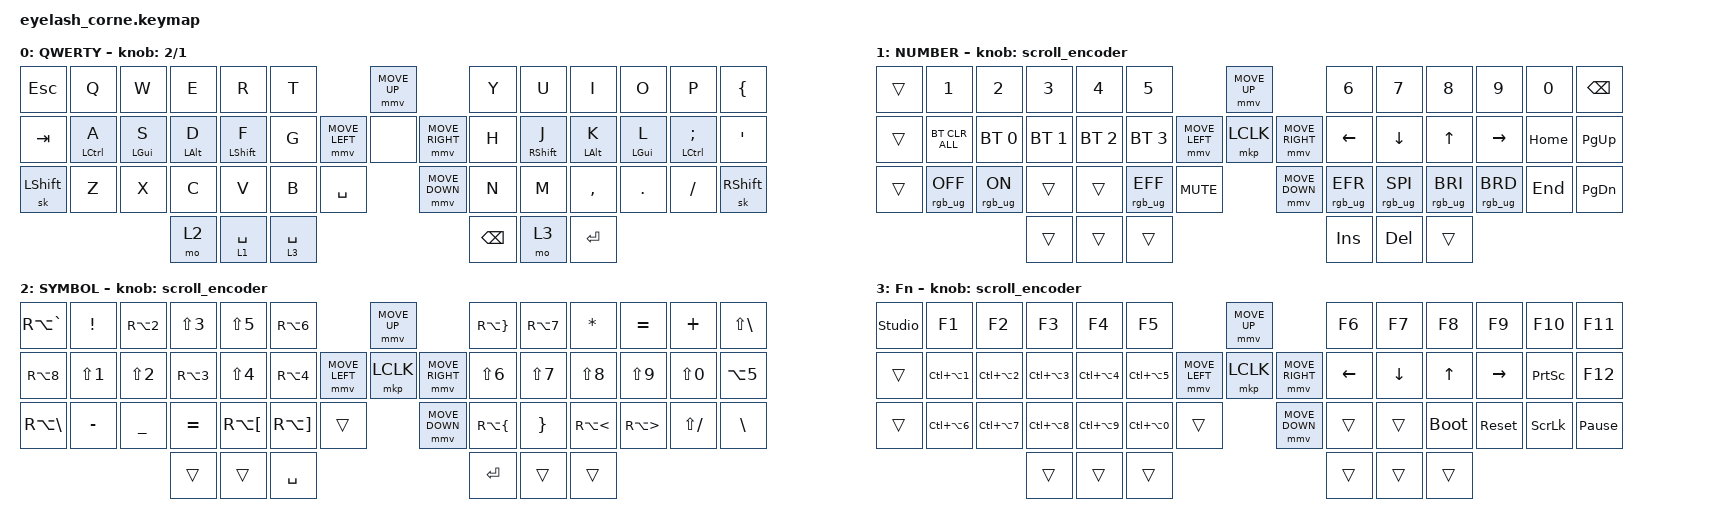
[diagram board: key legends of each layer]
#define ZMK_POINTING_DEFAULT_MOVE_VAL 1200  // 600
#define ZMK_POINTING_DEFAULT_SCRL_VAL 25   // 10

#include <input/processors.dtsi>
#include <zephyr/dt-bindings/input/input-event-codes.h>
#include <behaviors.dtsi>
#include <behaviors/num_word.dtsi> 

#include <dt-bindings/zmk/bt.h>
#include <dt-bindings/zmk/ext_power.h>
#include <dt-bindings/zmk/keys.h>
#include <dt-bindings/zmk/outputs.h>
#include <dt-bindings/zmk/pointing.h>
#include <dt-bindings/zmk/rgb.h>

// custom helpers
#include "zmk-helpers/helper.h"
#include "eyelash_corne/keymap.h"

#define KEYS_L LT0 LT1 LT2 LT3 LT4 LM0 LM1 LM2 LM3 LM4 LB0 LB1 LB2 LB3 LB4  // left hand
#define KEYS_R RT0 RT1 RT2 RT3 RT4 RM0 RM1 RM2 RM3 RM4 RB0 RB1 RB2 RB3 RB4  // right hand
#define THUMBS LH2 LH1 LH0 RH0 RH1 RH2   // thumbs

#define QUICK_TAP_MS 175

ZMK_HOLD_TAP(hml,
    flavor = "balanced";
    tapping-term-ms = <200>;
    require-prior-idle-ms = <QUICK_TAP_MS>;
    hold-trigger-key-positions = <KEYS_R THUMBS>;
    hold-trigger-on-release;
    bindings = <&kp>, <&kp>;
)

ZMK_HOLD_TAP(hmr,
    flavor = "balanced";
    tapping-term-ms = <200>;
    require-prior-idle-ms = <QUICK_TAP_MS>;
    hold-trigger-key-positions = <KEYS_L THUMBS>;
    hold-trigger-on-release;
    bindings = <&kp>, <&kp>;
)

&mmv_input_listener { input-processors = <&zip_xy_scaler 2 1>; };

&msc_input_listener { input-processors = <&zip_scroll_scaler 2 1>; };

&msc {
    acceleration-exponent = <1>;      // 0
    time-to-max-speed-ms = <100>;       // 300
    delay-ms = <0>;                   // 0
};

&mmv {
    time-to-max-speed-ms = <500>;
    acceleration-exponent = <3>;
    trigger-period-ms = <16>;
};

/ {
    behaviors {
        td0: td0 {
            compatible = "zmk,behavior-tap-dance";
            display-name = "Shift/Caps Lock Tap Dance";
            #binding-cells = <0>;
            bindings = <&kp LEFT_SHIFT>, <&kp CAPS>;
        };
    };

    rgb_encoder: rgb_encoder {
        compatible = "zmk,behavior-sensor-rotate";
        #sensor-binding-cells = <0>;
        bindings = <&rgb_ug RGB_BRI>, <&rgb_ug RGB_BRD>;
    };

    scroll_encoder: scroll_encoder {
        compatible = "zmk,behavior-sensor-rotate";
        #sensor-binding-cells = <0>;
        bindings = <&msc SCRL_DOWN>, <&msc SCRL_UP>;

        tap-ms = <100>;
    };

    macros {
        main_pswd: main_pswd {
            compatible = "zmk,behavior-macro";
            #binding-cells = <0>;
            bindings = <&kp T &kp E &kp S &kp T>;
            label = "MAIN_PSWD";
        };
    };

    keymap {
        compatible = "zmk,keymap";

        default_layer {
            display-name = "QWERTY";
            bindings = <
&kp ESCAPE  &kp Q  &kp W  &kp E  &kp R        &kp T                                     &mmv MOVE_UP                     &kp Y          &kp U  &kp I      &kp O    &kp P     &kp LEFT_BRACE
&kp TAB     &hml LCTRL A  &hml LGUI S  &hml LALT D  &hml LSHFT F        &kp G                     &mmv MOVE_LEFT  &none           &mmv MOVE_RIGHT  &kp H          &hmr RSHFT J  &hmr LALT K      &hmr LGUI L    &hmr LCTRL SEMI  &kp SQT
&sk LSHFT   &kp Z  &kp X  &kp C  &kp V        &kp B        &kp SPACE                    &mmv MOVE_DOWN                   &kp N          &kp M  &kp COMMA  &kp DOT  &kp FSLH  &sk RIGHT_SHIFT
                          &mo 2  &lt 1 SPACE  &lt 3 SPACE                                                                &kp BACKSPACE  &mo 3  &kp ENTER
            >;

            // sensor-bindings = <&inc_dec_kp C_VOLUME_UP C_VOLUME_DOWN>;

            sensor-bindings = <&inc_dec_kp N2 N1>;
        };

        lower_layer {
            display-name = "NUMBER";
            bindings = <
&trans  &kp N1           &kp N2          &kp N3        &kp N4        &kp N5                                         &mmv MOVE_UP                     &kp N6           &kp N7           &kp N8           &kp N9           &kp N0    &kp BSPC
&trans  &bt BT_CLR_ALL   &bt BT_SEL 0    &bt BT_SEL 1  &bt BT_SEL 2  &bt BT_SEL 3                   &mmv MOVE_LEFT  &mkp LCLK       &mmv MOVE_RIGHT  &kp LEFT         &kp DOWN         &kp UP           &kp RIGHT        &kp HOME  &kp PG_UP
&trans  &rgb_ug RGB_OFF  &rgb_ug RGB_ON  &trans        &trans        &rgb_ug RGB_EFF  &kp C_MUTE                    &mmv MOVE_DOWN                   &rgb_ug RGB_EFR  &rgb_ug RGB_SPI  &rgb_ug RGB_BRI  &rgb_ug RGB_BRD  &kp END   &kp PG_DN
                                         &trans        &trans        &trans                                                                          &kp INS          &kp DEL          &trans
            >;

            sensor-bindings = <&scroll_encoder>;
        };

        raise_layer {
            display-name = "SYMBOL";
            bindings = <
&kp RA(GRAVE)      &kp EXCL    &kp RA(N2)  &kp LS(N3)  &kp LS(N5)            &kp RA(N6)                                       &mmv MOVE_UP                     &kp RA(RIGHT_BRACE)  &kp RA(N7)       &kp ASTRK          &kp EQUAL             &kp PLUS       &kp LS(BACKSLASH)
&kp RA(N8)         &kp LS(N1)  &kp LS(N2)  &kp RA(N3)  &kp LS(N4)            &kp RA(N4)                       &mmv MOVE_LEFT  &mkp LCLK       &mmv MOVE_RIGHT  &kp LS(N6)           &kp LS(N7)       &kp LS(N8)         &kp LS(N9)            &kp LS(N0)     &kp LA(N5)
&kp RA(BACKSLASH)  &kp MINUS   &kp UNDER   &kp EQUAL   &kp RA(LEFT_BRACKET)  &kp RA(RIGHT_BRACKET)  &trans                    &mmv MOVE_DOWN                   &kp RA(LEFT_BRACE)   &kp RIGHT_BRACE  &kp RA(LESS_THAN)  &kp RA(GREATER_THAN)  &kp LS(SLASH)  &kp BSLH
                                           &trans      &trans                &kp SPACE                                                                         &kp RET              &trans           &trans
            >;

            sensor-bindings = <&scroll_encoder>;
        };

        layer_3 {
            display-name = "Fn";
            bindings = <
&studio_unlock  &kp F1          &kp F2     &kp F3       &kp F4     &kp F5                                  &mmv MOVE_UP                     &kp F6    &kp F7    &kp F8       &kp F9      &kp F10          &kp F11
&trans          &kp LC(LA(N1))  &kp LC(LA(N2))  &kp LC(LA(N3))    &kp LC(LA(N4))  &kp LC(LA(N5))                &mmv MOVE_LEFT  &mkp LCLK       &mmv MOVE_RIGHT  &kp LEFT  &kp DOWN  &kp UP       &kp RIGHT   &kp PRINTSCREEN  &kp F12
&trans          &kp LC(LA(N6))  &kp LC(LA(N7))  &kp LC(LA(N8))  &kp LC(LA(N9))     &kp LC(LA(N0))  &trans                    &mmv MOVE_DOWN                   &trans    &trans    &bootloader  &sys_reset  &kp SCROLLLOCK   &kp PAUSE_BREAK
                                           &trans       &trans     &trans                                                                   &trans    &trans    &trans
            >;

            sensor-bindings = <&scroll_encoder>;
        };
    };
};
